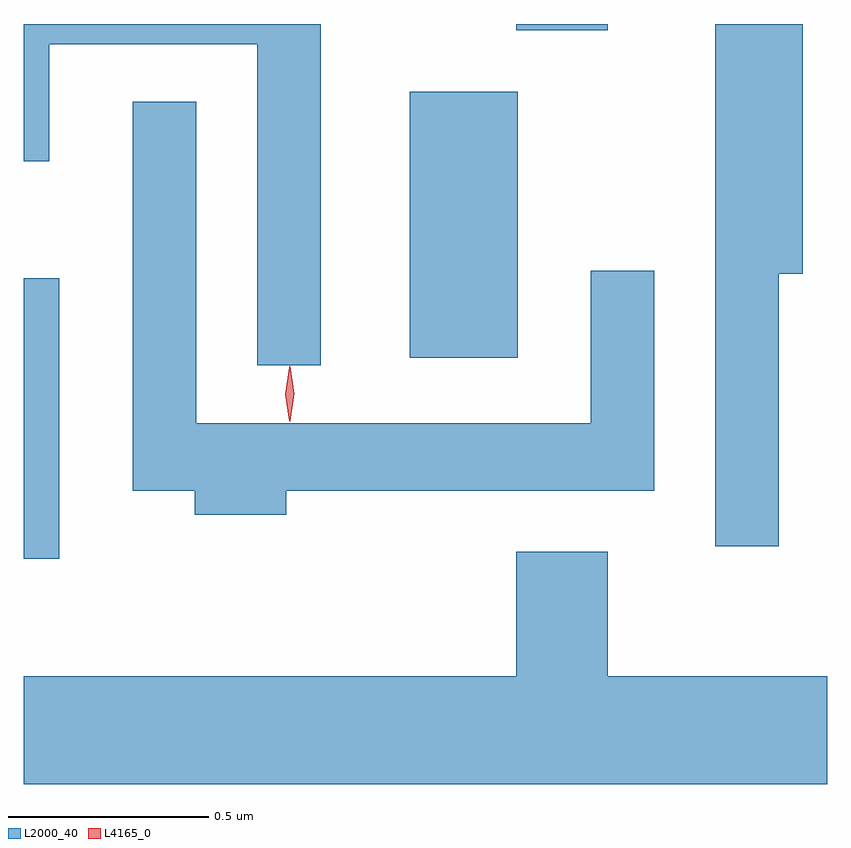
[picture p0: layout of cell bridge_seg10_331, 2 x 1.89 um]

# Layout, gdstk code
import gdstk
lib = gdstk.Library(unit=1e-6, precision=1e-09)
def R(c, l, rs):  # rectangles x0, y0, x1, y1
    for r in rs: c.add(gdstk.rectangle(r[:2], r[2:], *l))
def P(c, l, *ps):  # polygons
    for p in ps: c.add(gdstk.Polygon(p, *l))
L2000_40 = (2000, 40)
L4165_0 = (4165, 0)

bridge_seg10_331 = lib.new_cell('bridge_seg10_331')
R(bridge_seg10_331, L2000_40, [(1419.755,2169.976,1419.844,2170.674), (1420.716,2170.476,1420.984,2171.139), (1420.981,2171.291,1421.209,2171.307)])
P(bridge_seg10_331, L2000_40, [(1420.494,2171.307),(1419.755,2171.307),(1419.755,2170.966),(1419.819,2170.966),(1419.819,2171.256),(1420.336,2171.256),(1420.336,2170.458),(1420.494,2170.458)],
  [(1421.634,2170.686),(1421.694,2170.686),(1421.694,2171.307),(1421.476,2171.307),(1421.476,2170.008),(1421.634,2170.008)],
  [(1420.409,2170.146),(1421.324,2170.146),(1421.324,2170.693),(1421.166,2170.693),(1421.166,2170.314),(1420.184,2170.314),(1420.184,2171.113),(1420.026,2171.113),(1420.026,2170.146),(1420.181,2170.146),(1420.181,2170.086),(1420.409,2170.086)],
  [(1421.755,2169.684),(1421.209,2169.684),(1421.209,2169.994),(1420.981,2169.994),(1420.981,2169.684),(1419.755,2169.684),(1419.755,2169.416),(1421.755,2169.416)])
P(bridge_seg10_331, L4165_0, [(1420.418,2170.317),(1420.417,2170.318),(1420.408,2170.387),(1420.417,2170.456),(1420.418,2170.456),(1420.418,2170.456),(1420.428,2170.387),(1420.418,2170.318)],
  [(1420.416,2170.32),(1420.416,2170.32),(1420.406,2170.386),(1420.416,2170.452),(1420.416,2170.453),(1420.417,2170.452),(1420.426,2170.386),(1420.417,2170.32)])

lib.write_gds('bridge_seg10_331.gds')
